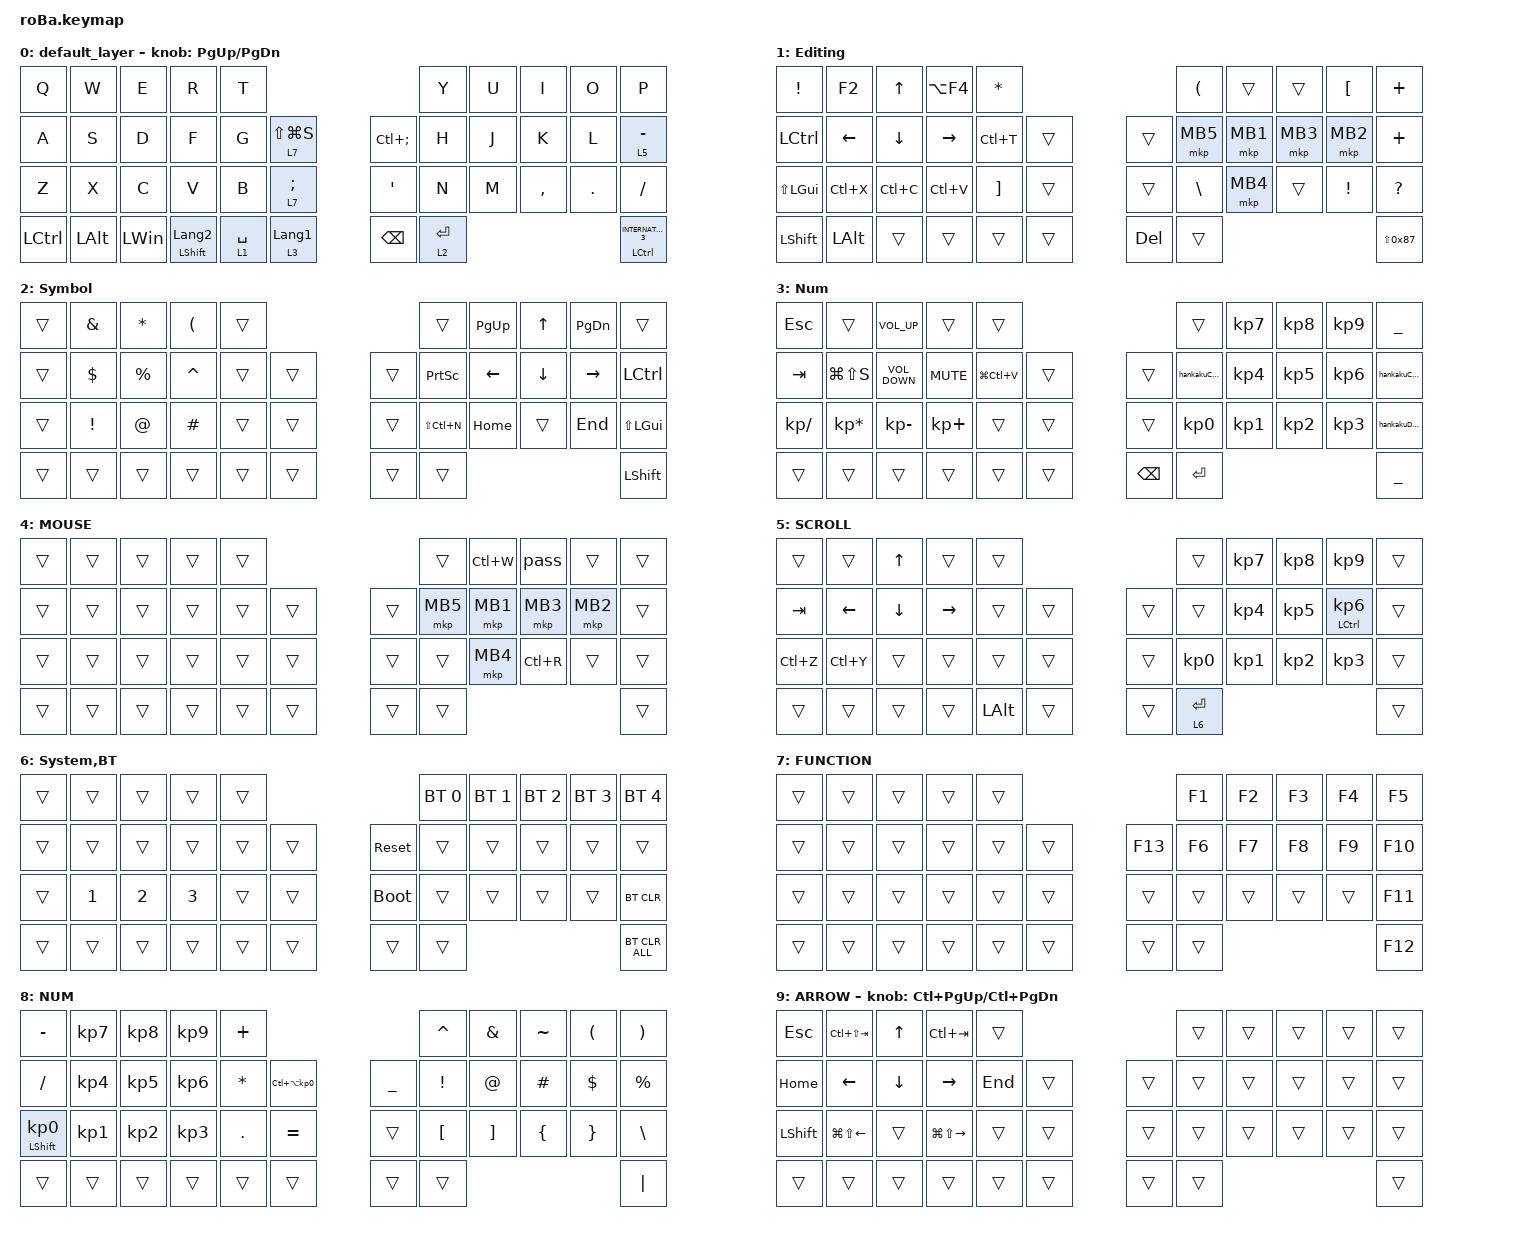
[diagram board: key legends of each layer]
// OS設定を日本語キーボードのまま使用するための変換定義

#define JP_DQUOTE       AT                // "
#define JP_AMPERSAND    CARET             // &
#define JP_QUOTE        AMPERSAND         // '
#define JP_EQUAL        UNDER             // =
#define JP_CARET        EQUAL             // ^
#define JP_YEN          0x89              // ¥
#define JP_PLUS         COLON             // +
#define JP_TILDE        PLUS              // ~
#define JP_PIPE         LS(0x89)          // |
#define JP_AT           LEFT_BRACKET      // @
#define JP_COLON        SINGLE_QUOTE      // :
#define JP_ASTERISK     DOUBLE_QUOTES     // *
#define JP_BACKQUOTE    LEFT_BRACE        // `
#define JP_UNDERSCORE   LS(0x87)          // _
#define JP_LBRACKET     RIGHT_BRACKET     // [
#define JP_RBRACKET     BACKSLASH         // ]
#define JP_LPAREN       ASTERISK          // (
#define JP_RPAREN       LEFT_PARENTHESIS  // )
#define JP_LBRACE       RIGHT_BRACE       // {
#define JP_RBRACE       PIPE              // }
#define JP_KANA         LANGUAGE_1        // かな
#define JP_EISU         LANGUAGE_2        // 英数
#define JP_HANZEN       GRAVE             // 半角/全角

#include <input/processors.dtsi>
#include <behaviors.dtsi>
#include <dt-bindings/zmk/bt.h>
#include <dt-bindings/zmk/keys.h>
#include <dt-bindings/zmk/pointing.h>

&mkp_input_listener { input-processors = <&zip_temp_layer 4 800>; };

&mt {
    flavor = "balanced";
    quick-tap-ms = <0>;
};

&trackball {
    //automouse-layer = <4>;

    scroll-layers = <5>;

    // arrows {
    //     layers = <3>;
    //     bindings =
    //         <&kp RIGHT_ARROW>,
    //         <&kp LEFT_ARROW>,
    //         <&kp UP_ARROW>,
    //         <&kp DOWN_ARROW>;
    //     tick = <10>;
    //     wait-ms = <5>;
    //     tap-ms = <5>;
    // };
};

/ {
    combos {
        compatible = "zmk,combos";

        FUNCTIONlayer_ESC {
            bindings = <&lt 7 ESC>;
            key-positions = <39 40>;
        };

        tab {
            bindings = <&kp TAB>;
            key-positions = <11 12>;
        };

        shift_tab {
            bindings = <&kp LS(TAB)>;
            key-positions = <12 13>;
        };

        double_quotation {
            bindings = <&kp DOUBLE_QUOTES>;
            key-positions = <20 21>;
        };

        eq {
            bindings = <&kp EQUAL>;
            key-positions = <24 25>;
        };
    };

    macros {
        to_layer_0: to_layer_0 {
            compatible = "zmk,behavior-macro-one-param";
            #binding-cells = <1>;
            bindings = <&to 0 &macro_param_1to1 &kp MACRO_PLACEHOLDER>;
            label = "TO_LAYER_0";
        };

        hankakuComma: hankakuComma {
            compatible = "zmk,behavior-macro";
            #binding-cells = <0>;
            bindings = <&kp JP_EISU &kp COMMA>;
            label = "HANKAKUCOMMA";
        };

        hankakuDOT: hankakuDOT {
            compatible = "zmk,behavior-macro";
            #binding-cells = <0>;
            bindings = <&kp JP_EISU &kp PERIOD>;
            label = "HANKAKUDOT";
        };

        hankakuCOLON: hankakuCOLON {
            compatible = "zmk,behavior-macro";
            #binding-cells = <0>;
            bindings = <&kp JP_EISU &kp JP_COLON>;
            label = "HANKAKUCOLON";
        };

        pass: pass {
            compatible = "zmk,behavior-macro";
            #binding-cells = <0>;
            bindings = <&kp LS(B) &kp O &kp N &kp G &kp O &kp N3 &kp N1 &kp N2 &kp N0>;
            label = "PASS";
        };
    };

    behaviors {
        lt_to_layer_0: lt_to_layer_0 {
            compatible = "zmk,behavior-hold-tap";
            label = "LAYER_TAP_TO_0";
            bindings = <&mo>, <&to_layer_0>;

            #binding-cells = <2>;
            tapping-term-ms = <200>;
        };
    };

    keymap {
        compatible = "zmk,keymap";

        default_layer {
            bindings = <
&kp Q             &kp W         &kp E         &kp R                   &kp T                                                         &kp Y        &kp U  &kp I      &kp O    &kp P
&kp A             &kp S         &kp D         &kp F                   &kp G        &lt 7 LS(LG(S))               &kp LC(SEMICOLON)  &kp H        &kp J  &kp K      &kp L    &lt 5 MINUS
&kp Z             &kp X         &kp C         &kp V                   &kp B        &lt 7 SEMICOLON               &kp JP_COLON       &kp N        &kp M  &kp COMMA  &kp DOT  &kp SLASH
&kp LEFT_CONTROL  &kp LEFT_ALT  &kp LEFT_WIN  &mt LEFT_SHIFT JP_EISU  &lt 1 SPACE  &lt_to_layer_0 3 JP_KANA      &kp BACKSPACE      &lt 2 ENTER                             &mt LCTRL INTERNATIONAL_3
            >;

            sensor-bindings = <&inc_dec_kp PG_UP PAGE_DOWN>;
        };

        Editing {
            bindings = <
&kp EXCLAMATION   &kp F2          &kp UP_ARROW    &kp LA(F4)       &kp JP_LPAREN                            &kp JP_RPAREN    &trans    &trans    &kp LEFT_BRACKET  &kp PLUS
&kp LCTRL         &kp LEFT_ARROW  &kp DOWN_ARROW  &kp RIGHT_ARROW  &kp LC(T)        &trans      &trans      &mkp MB5         &mkp MB1  &mkp MB3  &mkp MB2          &kp PLUS
&kp LS(LEFT_GUI)  &kp LC(X)       &kp LC(C)       &kp LC(V)        &kp JP_LBRACKET  &trans      &trans      &kp JP_RBRACKET  &mkp MB4  &trans    &kp EXCLAMATION   &kp QUESTION
&kp LEFT_SHIFT    &kp LEFT_ALT    &trans          &trans           &trans           &trans      &kp DELETE  &trans                                                 &kp JP_UNDERSCORE
            >;
        };

        Symbol {
            bindings = <
&trans  &kp JP_QUOTE     &kp JP_LPAREN  &kp JP_RPAREN     &trans                      &trans           &kp PAGE_UP     &kp UP_ARROW    &kp PAGE_DOWN    &trans
&trans  &kp DOLLAR       &kp PERCENT    &kp JP_AMPERSAND  &trans  &trans      &trans  &kp PRINTSCREEN  &kp LEFT_ARROW  &kp DOWN_ARROW  &kp RIGHT_ARROW  &kp LEFT_CONTROL
&trans  &kp EXCLAMATION  &kp JP_DQUOTE  &kp HASH          &trans  &trans      &trans  &kp LS(LC(N))    &kp HOME        &trans          &kp END          &kp LS(LEFT_GUI)
&trans  &trans           &trans         &trans            &trans  &trans      &trans  &trans                                                            &kp LEFT_SHIFT
            >;
        };

        Num {
            bindings = <
&kp ESCAPE    &trans           &kp C_VOLUME_UP    &trans       &trans                                    &trans           &kp KP_NUMBER_7  &kp KP_NUMBER_8  &kp KP_NUMBER_9  &kp JP_EQUAL
&kp TAB       &kp LG(LS(S))    &kp C_VOLUME_DOWN  &kp C_MUTE   &kp LG(LC(V))  &trans      &trans         &hankakuComma    &kp KP_NUMBER_4  &kp KP_NUMBER_5  &kp KP_NUMBER_6  &hankakuCOLON
&kp KP_SLASH  &kp KP_ASTERISK  &kp KP_MINUS       &kp KP_PLUS  &trans         &trans      &trans         &kp KP_NUMBER_0  &kp KP_NUMBER_1  &kp KP_NUMBER_2  &kp KP_NUMBER_3  &hankakuDOT
&trans        &trans           &trans             &trans       &trans         &trans      &kp BACKSPACE  &kp ENTER                                                           &kp JP_EQUAL
            >;
        };

        MOUSE {
            bindings = <
&trans  &trans  &trans  &trans  &trans                      &trans    &kp LC(W)  &pass      &trans    &trans
&trans  &trans  &trans  &trans  &trans  &trans      &trans  &mkp MB5  &mkp MB1   &mkp MB3   &mkp MB2  &trans
&trans  &trans  &trans  &trans  &trans  &trans      &trans  &trans    &mkp MB4   &kp LC(R)  &trans    &trans
&trans  &trans  &trans  &trans  &trans  &trans      &trans  &trans                                    &trans
            >;
        };

        SCROLL {
            bindings = <
&trans     &trans          &kp UP_ARROW    &trans           &trans                            &trans           &kp KP_NUMBER_7  &kp KP_NUMBER_8  &kp KP_NUMBER_9        &trans
&kp TAB    &kp LEFT_ARROW  &kp DOWN_ARROW  &kp RIGHT_ARROW  &trans        &trans      &trans  &trans           &kp KP_NUMBER_4  &kp KP_NUMBER_5  &mt LCTRL KP_NUMBER_6  &trans
&kp LC(Z)  &kp LC(Y)       &trans          &trans           &trans        &trans      &trans  &kp KP_NUMBER_0  &kp KP_NUMBER_1  &kp KP_NUMBER_2  &kp KP_NUMBER_3        &trans
&trans     &trans          &trans          &trans           &kp LEFT_ALT  &trans      &trans  &lt 6 ENTER                                                               &trans
            >;
        };

        System,BT {
            bindings = <
&trans  &trans        &trans        &trans        &trans                           &bt BT_SEL 0  &bt BT_SEL 1  &bt BT_SEL 2  &bt BT_SEL 3  &bt BT_SEL 4
&trans  &trans        &trans        &trans        &trans  &trans      &sys_reset   &trans        &trans        &trans        &trans        &trans
&trans  &kp NUMBER_1  &kp NUMBER_2  &kp NUMBER_3  &trans  &trans      &bootloader  &trans        &trans        &trans        &trans        &bt BT_CLR
&trans  &trans        &trans        &trans        &trans  &trans      &trans       &trans                                                  &bt BT_CLR_ALL
            >;
        };

        FUNCTION {
            bindings = <
&trans  &trans  &trans  &trans  &trans                       &kp F1  &kp F2  &kp F3  &kp F4  &kp F5
&trans  &trans  &trans  &trans  &trans  &trans      &kp F13  &kp F6  &kp F7  &kp F8  &kp F9  &kp F10
&trans  &trans  &trans  &trans  &trans  &trans      &trans   &trans  &trans  &trans  &trans  &kp F11
&trans  &trans  &trans  &trans  &trans  &trans      &trans   &trans                          &kp F12
            >;
        };

        NUM {
            bindings = <
&kp MINUS                   &kp KP_NUMBER_7  &kp KP_NUMBER_8  &kp KP_NUMBER_9  &kp PLUS                                                   &kp CARET         &kp AMPERSAND      &kp TILDE       &kp LEFT_PARENTHESIS  &kp RIGHT_PARENTHESIS
&kp SLASH                   &kp KP_NUMBER_4  &kp KP_NUMBER_5  &kp KP_NUMBER_6  &kp ASTERISK  &kp LC(LA(KP_NUMBER_0))      &kp UNDERSCORE  &kp EXCLAMATION   &kp AT_SIGN        &kp HASH        &kp DOLLAR            &kp PERCENT
&mt LEFT_SHIFT KP_NUMBER_0  &kp KP_NUMBER_1  &kp KP_NUMBER_2  &kp KP_NUMBER_3  &kp PERIOD    &kp EQUAL                    &trans          &kp LEFT_BRACKET  &kp RIGHT_BRACKET  &kp LEFT_BRACE  &kp RIGHT_BRACE       &kp BACKSLASH
&trans                      &trans           &trans           &trans           &trans        &trans                       &trans          &trans                                                                     &kp PIPE
            >;
        };

        ARROW {
            bindings = <
&kp ESCAPE      &kp LC(LS(TAB))         &kp UP_ARROW    &kp LC(TAB)              &trans                       &trans  &trans  &trans  &trans  &trans
&kp HOME        &kp LEFT_ARROW          &kp DOWN_ARROW  &kp RIGHT_ARROW          &kp END  &trans      &trans  &trans  &trans  &trans  &trans  &trans
&kp LEFT_SHIFT  &kp LG(LS(LEFT_ARROW))  &trans          &kp LG(LS(RIGHT_ARROW))  &trans   &trans      &trans  &trans  &trans  &trans  &trans  &trans
&trans          &trans                  &trans          &trans                   &trans   &trans      &trans  &trans                          &trans
            >;

            sensor-bindings = <&inc_dec_kp LC(PAGE_UP) LC(PAGE_DOWN)>;
        };
    };
};
